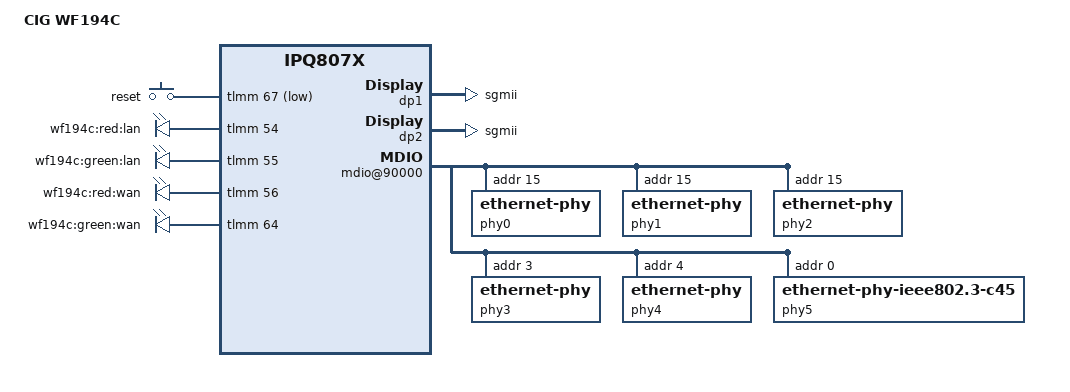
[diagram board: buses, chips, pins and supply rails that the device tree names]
// SPDX-License-Identifier: GPL-2.0-only
/dts-v1/;
/* Copyright (c) 2017, 2020, The Linux Foundation. All rights reserved.
 */
#include "ipq8074-hk01.dtsi"
#include "ipq8074-audio.dtsi"

/ {
        model = "CIG WF194C";
        compatible = "cig,wf194c", "qcom,ipq807x";

	aliases {
		/delete-property/ ethernet2;
		/delete-property/ ethernet3;
		/delete-property/ ethernet4;
		/delete-property/ ethernet5;
	};

	soc {
		/delete-node/ ledc@191E000;
		/delete-node/ qti,scm_restart_reason;

		pinctrl@1000000 {
			button_pins: button_pins {
				wps_button {
					pins = "gpio57";
					function = "gpio";
					drive-strength = <8>;
					bias-pull-up;
				};
			};

			leds_pins: leds_pinmux {
				led1_r {
					pins = "gpio54";
					function = "gpio";
					drive-strength = <8>;
					bias-pull-down;
				};

				led1_g {
					pins = "gpio55";
					function = "gpio";
					drive-strength = <8>;
					bias-pull-down;
				};

				led2_r {
					pins = "gpio56";
					function = "gpio";
					drive-strength = <8>;
					bias-pull-down;
				};

				led2_g {
					pins = "gpio64";
					function = "gpio";
					drive-strength = <8>;
					bias-pull-down;
				};
			};
		};

		gpio_keys {
			compatible = "gpio-keys";
			pinctrl-0 = <&button_pins>;
			pinctrl-names = "default";

			button@1 {
				label = "reset";
				linux,code = <KEY_RESTART>;
				gpios = <&tlmm 67 GPIO_ACTIVE_LOW>;
				linux,input-type = <1>;
				debounce-interval = <60>;
			};
		};

		leds {
			compatible = "gpio-leds";
			pinctrl-0 = <&leds_pins>;
			pinctrl-names = "default";
			status = "ok";

			led@54 {
				label = "wf194c:red:lan";
				gpios = <&tlmm 54 GPIO_ACTIVE_HIGH>;
				default-state = "off";
			};

			led@55 {
				label = "wf194c:green:lan";
				gpios = <&tlmm 55 GPIO_ACTIVE_HIGH>;
				default-state = "on";
			};

			led@56 {
				label = "wf194c:red:wan";
				gpios = <&tlmm 56 GPIO_ACTIVE_HIGH>;
				default-state = "off";
			};

			led@64 {
				label = "wf194c:green:wan";
				gpios = <&tlmm 64 GPIO_ACTIVE_HIGH>;
				default-state = "on";
			};
		};

		dp1 {
			device_type = "network";
			compatible = "qcom,nss-dp";
			qcom,id = <4>;
			reg = <0x3a001600 0x200>;
			qcom,mactype = <0>;
			local-mac-address = [000000000000];
			qcom,link-poll = <1>;
			qcom,phy-mdio-addr = <3>;
			phy-mode = "sgmii";
		};

		dp2 {
			device_type = "network";
			compatible = "qcom,nss-dp";
			qcom,id = <6>;
			reg = <0x3a007000 0x3fff>;
			qcom,mactype = <1>;
			local-mac-address = [000000000000];
			qcom,link-poll = <1>;
			qcom,phy-mdio-addr = <0>;
			phy-mode = "sgmii";
		};

		mdio@90000 {
			pinctrl-0 = <&mdio_pins>;
			pinctrl-names = "default";
			phy-reset-gpio = <&tlmm 37 0 &tlmm 44 0>;
			phy0: ethernet-phy@0 {
				reg = <0xf>;
			};
			phy1: ethernet-phy@1 {
				reg = <0xf>;
			};
			phy2: ethernet-phy@2 {
				reg = <0xf>;
			};
			phy3: ethernet-phy@3 {
				reg = <3>;
			};
			phy4: ethernet-phy@4 {
				reg = <4>;
			};
			phy5: ethernet-phy@5 {
				compatible ="ethernet-phy-ieee802.3-c45";
				reg = <0>;
			};
		};

		ess-switch@3a000000 {
			switch_cpu_bmp = <0x1>;  /* cpu port bitmap */
			switch_lan_bmp = <0x30>; /* lan port bitmap */
			switch_wan_bmp = <0x40>; /* wan port bitmap */
			switch_mac_mode = <0x0>; /* mac mode for uniphy instance0*/
			switch_mac_mode1 = <0xff>; /* mac mode for uniphy instance1*/
			switch_mac_mode2 = <0xd>; /* mac mode for uniphy instance2*/
			bm_tick_mode = <0>; /* bm tick mode */
			tm_tick_mode = <0>; /* tm tick mode */
			port_scheduler_resource {
				port@0 {
					port_id = <0>;
					ucast_queue = <0 143>;
					mcast_queue = <256 271>;
					l0sp = <0 35>;
					l0cdrr = <0 47>;
					l0edrr = <0 47>;
					l1cdrr = <0 7>;
					l1edrr = <0 7>;
				};
				port@1 {
					port_id = <1>;
					ucast_queue = <144 159>;
					mcast_queue = <272 275>;
					l0sp = <36 39>;
					l0cdrr = <48 63>;
					l0edrr = <48 63>;
					l1cdrr = <8 11>;
					l1edrr = <8 11>;
				};
				port@2 {
					port_id = <2>;
					ucast_queue = <160 175>;
					mcast_queue = <276 279>;
					l0sp = <40 43>;
					l0cdrr = <64 79>;
					l0edrr = <64 79>;
					l1cdrr = <12 15>;
					l1edrr = <12 15>;
				};
				port@3 {
					port_id = <3>;
					ucast_queue = <176 191>;
					mcast_queue = <280 283>;
					l0sp = <44 47>;
					l0cdrr = <80 95>;
					l0edrr = <80 95>;
					l1cdrr = <16 19>;
					l1edrr = <16 19>;
				};
				port@4 {
					port_id = <4>;
					ucast_queue = <192 207>;
					mcast_queue = <284 287>;
					l0sp = <48 51>;
					l0cdrr = <96 111>;
					l0edrr = <96 111>;
					l1cdrr = <20 23>;
					l1edrr = <20 23>;
				};
				port@5 {
					port_id = <5>;
					ucast_queue = <208 223>;
					mcast_queue = <288 291>;
					l0sp = <52 55>;
					l0cdrr = <112 127>;
					l0edrr = <112 127>;
					l1cdrr = <24 27>;
					l1edrr = <24 27>;
				};
				port@6 {
					port_id = <6>;
					ucast_queue = <224 239>;
					mcast_queue = <292 295>;
					l0sp = <56 59>;
					l0cdrr = <128 143>;
					l0edrr = <128 143>;
					l1cdrr = <28 31>;
					l1edrr = <28 31>;
				};
				port@7 {
					port_id = <7>;
					ucast_queue = <240 255>;
					mcast_queue = <296 299>;
					l0sp = <60 63>;
					l0cdrr = <144 159>;
					l0edrr = <144 159>;
					l1cdrr = <32 35>;
					l1edrr = <32 35>;
				};
			};
			port_scheduler_config {
				port@0 {
					port_id = <0>;
					l1scheduler {
						group@0 {
							sp = <0 1>; /*L0 SPs*/
							/*cpri cdrr epri edrr*/
							cfg = <0 0 0 0>;
						};
					};
					l0scheduler {
						group@0 {
							/*unicast queues*/
							ucast_queue = <0 4 8>;
							/*multicast queues*/
							mcast_queue = <256 260>;
							/*sp cpri cdrr epri edrr*/
							cfg = <0 0 0 0 0>;
						};
						group@1 {
							ucast_queue = <1 5 9>;
							mcast_queue = <257 261>;
							cfg = <0 1 1 1 1>;
						};
						group@2 {
							ucast_queue = <2 6 10>;
							mcast_queue = <258 262>;
							cfg = <0 2 2 2 2>;
						};
						group@3 {
							ucast_queue = <3 7 11>;
							mcast_queue = <259 263>;
							cfg = <0 3 3 3 3>;
						};
					};
				};
				port@1 {
					port_id = <1>;
					l1scheduler {
						group@0 {
							sp = <36>;
							cfg = <0 8 0 8>;
						};
						group@1 {
							sp = <37>;
							cfg = <1 9 1 9>;
						};
					};
					l0scheduler {
						group@0 {
							ucast_queue = <144>;
							ucast_loop_pri = <16>;
							mcast_queue = <272>;
							mcast_loop_pri = <4>;
							cfg = <36 0 48 0 48>;
						};
					};
				};
				port@2 {
					port_id = <2>;
					l1scheduler {
						group@0 {
							sp = <40>;
							cfg = <0 12 0 12>;
						};
						group@1 {
							sp = <41>;
							cfg = <1 13 1 13>;
						};
					};
					l0scheduler {
						group@0 {
							ucast_queue = <160>;
							ucast_loop_pri = <16>;
							mcast_queue = <276>;
							mcast_loop_pri = <4>;
							cfg = <40 0 64 0 64>;
						};
					};
				};
				port@3 {
					port_id = <3>;
					l1scheduler {
						group@0 {
							sp = <44>;
							cfg = <0 16 0 16>;
						};
						group@1 {
							sp = <45>;
							cfg = <1 17 1 17>;
						};
					};
					l0scheduler {
						group@0 {
							ucast_queue = <176>;
							ucast_loop_pri = <16>;
							mcast_queue = <280>;
							mcast_loop_pri = <4>;
							cfg = <44 0 80 0 80>;
						};
					};
				};
				port@4 {
					port_id = <4>;
					l1scheduler {
						group@0 {
							sp = <48>;
							cfg = <0 20 0 20>;
						};
						group@1 {
							sp = <49>;
							cfg = <1 21 1 21>;
						};
					};
					l0scheduler {
						group@0 {
							ucast_queue = <192>;
							ucast_loop_pri = <16>;
							mcast_queue = <284>;
							mcast_loop_pri = <4>;
							cfg = <48 0 96 0 96>;
						};
					};
				};
				port@5 {
					port_id = <5>;
					l1scheduler {
						group@0 {
							sp = <52>;
							cfg = <0 24 0 24>;
						};
						group@1 {
							sp = <53>;
							cfg = <1 25 1 25>;
						};
					};
					l0scheduler {
						group@0 {
							ucast_queue = <208>;
							ucast_loop_pri = <16>;
							mcast_queue = <288>;
							mcast_loop_pri = <4>;
							cfg = <52 0 112 0 112>;
						};
					};
				};
				port@6 {
					port_id = <6>;
					l1scheduler {
						group@0 {
							sp = <56>;
							cfg = <0 28 0 28>;
						};
						group@1 {
							sp = <57>;
							cfg = <1 29 1 29>;
						};
					};
					l0scheduler {
						group@0 {
							ucast_queue = <224>;
							ucast_loop_pri = <16>;
							mcast_queue = <292>;
							mcast_loop_pri = <4>;
							cfg = <56 0 128 0 128>;
						};
					};
				};
				port@7 {
					port_id = <7>;
					l1scheduler {
						group@0 {
							sp = <60>;
							cfg = <0 32 0 32>;
						};
						group@1 {
							sp = <61>;
							cfg = <1 33 1 33>;
						};
					};
					l0scheduler {
						group@0 {
							ucast_queue = <240>;
							ucast_loop_pri = <16>;
							mcast_queue = <296>;
							cfg = <60 0 144 0 144>;
						};
					};
				};
			};
		};

		pwm {
			status = "disabled";
		};

		qti_mdss_qpic@7980000 {
			status = "disabled";
		};

		qti_mdss_qpic_panel {
			status = "disabled";
		};

		i2c@78b6000 {
			status = "disabled";
		};

		sdhci@7824900 {
			status = "disabled";
		};
	};
};
